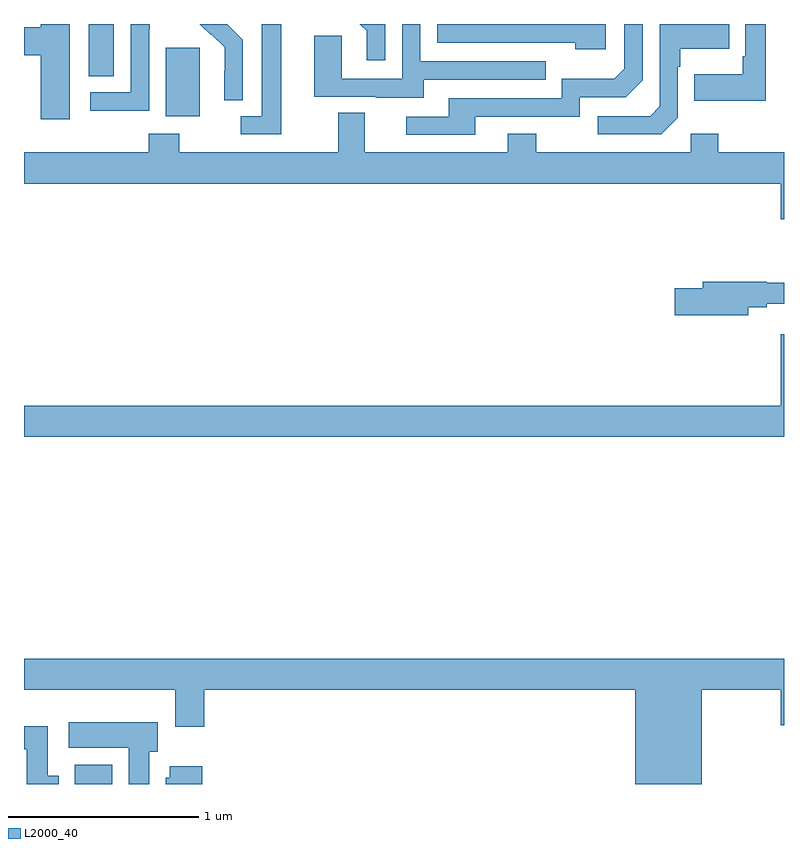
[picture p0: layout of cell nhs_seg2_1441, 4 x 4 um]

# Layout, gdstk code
import gdstk
lib = gdstk.Library(unit=1e-6, precision=1e-09)
def R(c, l, rs):  # rectangles x0, y0, x1, y1
    for r in rs: c.add(gdstk.rectangle(r[:2], r[2:], *l))
def P(c, l, *ps):  # polygons
    for p in ps: c.add(gdstk.Polygon(p, *l))
L2000_40 = (2000, 40)

nhs_seg2_1441 = lib.new_cell('nhs_seg2_1441')
R(nhs_seg2_1441, L2000_40, [(185.267,653.8,185.464,653.902), (185.747,657.314,185.926,657.675), (185.342,657.526,185.473,657.8)])
P(nhs_seg2_1441, L2000_40, [(188.062,657.798),(187.285,657.798),(187.285,657.8),(187.176,657.8),(187.176,657.702),(187.901,657.702),(187.901,657.668),(188.062,657.668)],
  [(186.15,657.718),(186.077,657.791),(186.078,657.792),(186.07,657.8),(185.926,657.8),(185.982,657.744),(185.985,657.747),(186.056,657.677),(186.056,657.554),(186.054,657.554),(186.054,657.4),(186.15,657.4)],
  [(185.658,657.772),(185.661,657.772),(185.661,657.8),(185.562,657.8),(185.562,657.441),(185.349,657.441),(185.349,657.343),(185.658,657.343)],
  [(188.905,657.8),(188.796,657.8),(188.796,657.631),(188.784,657.631),(188.784,657.535),(188.527,657.535),(188.527,657.395),(188.905,657.395)],
  [(186.9,657.8),(186.768,657.8),(186.803,657.765),(186.803,657.609),(186.9,657.609)],
  [(186.355,657.8),(186.251,657.8),(186.251,657.315),(186.141,657.315),(186.141,657.219),(186.355,657.219)],
  [(187.105,657.507),(187.745,657.507),(187.745,657.603),(187.086,657.603),(187.086,657.8),(186.99,657.8),(186.99,657.513),(186.672,657.513),(186.672,657.737),(186.527,657.737),(186.527,657.417),(186.851,657.417),(186.851,657.413),(187.105,657.413)],
  [(185.242,657.8),(185.087,657.8),(185.087,657.782),(185,657.782),(185,657.635),(185.087,657.635),(185.087,657.3),(185.242,657.3)],
  [(188.442,657.306),(188.442,657.575),(188.455,657.575),(188.455,657.671),(188.711,657.671),(188.711,657.8),(188.346,657.8),(188.346,657.366),(188.295,657.315),(188.019,657.315),(188.019,657.219),(188.355,657.219)],
  [(187.375,657.312),(187.926,657.312),(187.926,657.414),(188.166,657.414),(188.256,657.504),(188.256,657.8),(188.16,657.8),(188.16,657.564),(188.107,657.511),(187.83,657.511),(187.83,657.408),(187.235,657.408),(187.235,657.312),(187.011,657.312),(187.011,657.216),(187.375,657.216)],
  [(189,657.124),(188.655,657.124),(188.655,657.223),(188.508,657.223),(188.508,657.124),(187.695,657.124),(187.695,657.223),(187.547,657.223),(187.547,657.124),(186.793,657.124),(186.793,657.332),(186.653,657.332),(186.653,657.124),(185.817,657.124),(185.817,657.223),(185.657,657.223),(185.657,657.124),(185,657.124),(185,656.96),(188.984,656.96),(188.984,656.772),(189,656.772)],
  [(188.812,656.308),(188.908,656.308),(188.908,656.327),(189,656.327),(189,656.437),(188.908,656.437),(188.908,656.444),(188.573,656.444),(188.573,656.408),(188.424,656.408),(188.424,656.266),(188.812,656.266)],
  [(189,656.167),(188.984,656.167),(188.984,655.792),(185,655.792),(185,655.628),(189,655.628)],
  [(188.566,654.296),(188.984,654.296),(188.984,654.108),(189,654.108),(189,654.46),(185,654.46),(185,654.296),(185.795,654.296),(185.795,654.102),(185.948,654.102),(185.948,654.296),(188.216,654.296),(188.216,653.8),(188.566,653.8)],
  [(185.659,653.97),(185.704,653.97),(185.704,654.124),(185.235,654.124),(185.235,653.99),(185.552,653.99),(185.552,653.8),(185.659,653.8)],
  [(185.182,653.844),(185.125,653.844),(185.125,654.103),(185,654.103),(185,653.984),(185.015,653.984),(185.015,653.8),(185.182,653.8)],
  [(185.939,653.893),(185.768,653.893),(185.768,653.832),(185.747,653.832),(185.747,653.8),(185.939,653.8)])

lib.write_gds('nhs_seg2_1441.gds')
